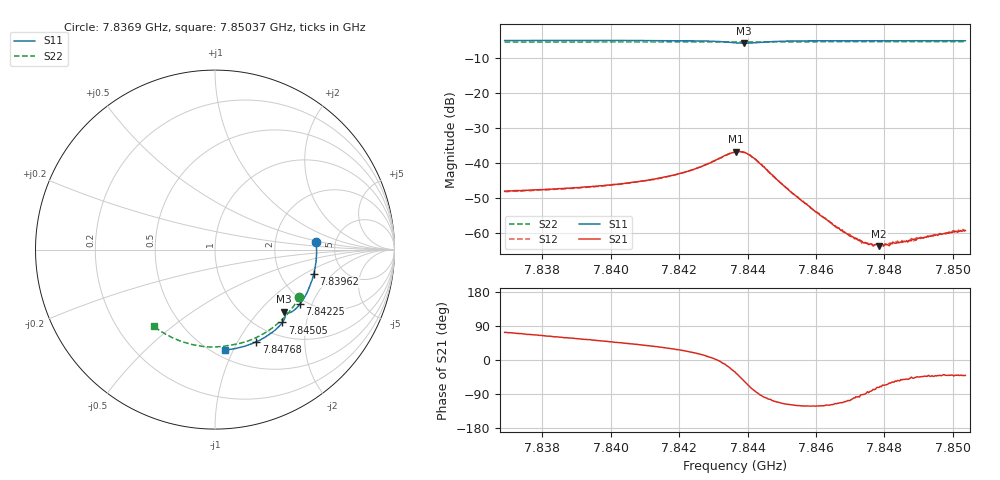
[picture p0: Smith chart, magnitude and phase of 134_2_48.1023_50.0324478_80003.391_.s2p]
#  HZ  S  RI  R  50.00
! Rohde & Schwarz Vector Network Analyzer
! Rohde-Schwarz,ZNB20-2Port,1311601062101988,3.16
! Created: UTC 12/23/2023, 3:48:05 AM
! freq[Hz]  re:S11  im:S11  re:S21  im:S21  re:S12  im:S12  re:S22  im:S22
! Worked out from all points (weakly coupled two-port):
!   401 points, 7.8369 GHz to 7.85037 GHz, reference 50 ohm
!   highest |S21| = -36.77 dB at 7.84367 GHz (marker M1); lowest = -63.8 dB at 7.84784 GHz (marker M2)
!   lowest |S11| = -5.7 dB at 7.8439 GHz (marker M3), VSWR 3.14, Z = 73.5 - j69.3 ohm
!   |S11| at or under -10 dB: nowhere
!   |S22| runs from -5.4 to -5.3 dB; largest |S21 - S12| = 0.00032
!   S11 on the Smith chart (normalised r, x): 7.8369 GHz: 3.55, +0.45; 7.83962 GHz: 3.06, -1.24; 7.84225 GHz: 1.86, -1.64; 7.84505 GHz: 1.25, -1.46; 7.84768 GHz: 0.80, -1.20; 7.85037 GHz: 0.57, -0.93
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7.836896e9  0.5646 0.0427  0.00116 0.00374  0.00118 0.0037  0.4707 -0.2638
7.839153e9  0.5567 -0.1072  0.00256 0.00363  0.00254 0.00365  0.3749 -0.3892
7.839624e9  0.5498 -0.1379  0.00291 0.00361  0.0029 0.00357  0.3505 -0.4114
7.840534e9  0.5314 -0.1968  0.00377 0.00356  0.0037 0.00351  0.2999 -0.4501
7.84141e9  0.5065 -0.2518  0.005 0.00339  0.00493 0.00339  0.247 -0.4815
7.842252e9  0.4742 -0.3028  0.00698 0.00292  0.00698 0.00292  0.1929 -0.5057
7.843128e9  0.4243 -0.3482  0.0113 -0.000119  0.011 -0.000134  0.134 -0.5237
7.843633e9  0.3892 -0.3523  0.0121 -0.00743  0.0121 -0.00761  0.1001 -0.5298
7.843667e9  0.3877 -0.3512  0.0119 -0.00836  0.0118 -0.0083  0.0979 -0.5302
7.843902e9  0.3845 -0.3455  0.00784 -0.0117  0.00782 -0.0117  0.083 -0.5326
7.844239e9  0.392 -0.3531  0.00119 -0.0112  0.00109 -0.011  0.0614 -0.5369
7.845048e9  0.3753 -0.4059  -0.00201 -0.00431  -0.00196 -0.00434  0.0048 -0.5426
7.84589e9  0.3338 -0.4497  -0.00113 -0.00186  -0.00115 -0.00187  -0.0547 -0.5408
7.846564e9  0.2962 -0.4774  -0.000514 -0.00111  -0.000526 -0.00114  -0.1015 -0.5343
7.846968e9  0.2727 -0.4919  -0.000267 -0.000866  -0.000275 -0.000919  -0.1294 -0.5287
7.847305e9  0.2526 -0.5029  -3.25e-05 -0.000762  -8.24e-05 -0.000771  -0.1523 -0.5228
7.847675e9  0.2301 -0.5137  0.000146 -0.000645  0.000137 -0.000626  -0.1769 -0.5153
7.847844e9  0.2197 -0.5183  0.000196 -0.000614  0.000215 -0.000607  -0.1881 -0.5113
7.847911e9  0.2155 -0.5201  0.000223 -0.000631  0.00024 -0.000612  -0.1927 -0.5096
7.848147e9  0.201 -0.5259  0.000317 -0.000567  0.000335 -0.000624  -0.2082 -0.5036
7.849461e9  0.1168 -0.5505  0.000681 -0.000629  0.000709 -0.0006  -0.2902 -0.4621
7.85037e9  0.057 -0.5594  0.000815 -0.000698  0.000819 -0.000707  -0.3424 -0.4254
